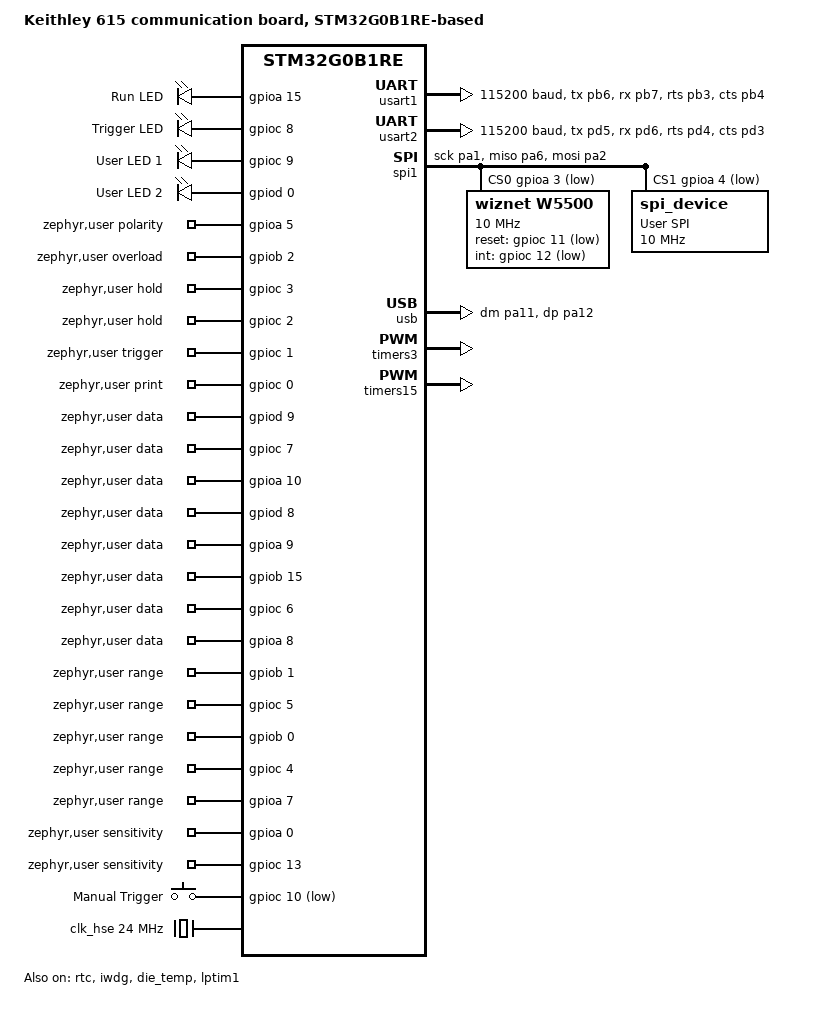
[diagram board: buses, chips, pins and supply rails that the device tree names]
/dts-v1/;
#include <st/g0/stm32g0b1Xe.dtsi>
#include <st/g0/stm32g0b1r(b-c-e)tx-pinctrl.dtsi>

/ {
	model = "Keithley 615 communication board, STM32G0B1RE-based";
	compatible = "st,stm32g0b1re-nucleo";

	chosen {
		zephyr,console = &usart1;
		zephyr,shell-uart = &usart1;
		zephyr,uart-mcumgr = &usart1;
		zephyr,sram = &sram0;
		zephyr,flash = &flash0;
		zephyr,code-partition = &slot0_partition;
	};

	leds {
		compatible = "gpio-leds";
		led_run {
			gpios = <&gpioa 15 GPIO_ACTIVE_HIGH>;
			label = "Run LED";
		};
		led_trigger {
			gpios = <&gpioc 8 GPIO_ACTIVE_HIGH>;
			label = "Trigger LED";
		};
		led_user1 {
			gpios = <&gpioc 9 GPIO_ACTIVE_HIGH>;
			label = "User LED 1";
		};
		led_user2 {
			gpios = <&gpiod 0 GPIO_ACTIVE_HIGH>;
			label = "User LED 2";
		};
	};

    /* Keithley 615 50-pin interface */
    /* TODO: Make separate device driver for this, so device-tree layout can
     * be cleaner. */
    zephyr,user {
        polarity-gpios    = <&gpioa  5 GPIO_ACTIVE_HIGH>;
        overload-gpios    = <&gpiob  2 GPIO_ACTIVE_HIGH>;
        hold-gpios        = <&gpioc  3 GPIO_ACTIVE_HIGH>,
                            <&gpioc  2 GPIO_ACTIVE_HIGH>;
        trigger-gpios     = <&gpioc  1 GPIO_ACTIVE_HIGH>;
        print-gpios       = <&gpioc  0 GPIO_ACTIVE_HIGH>;

        data-gpios        = <&gpiod  9 GPIO_ACTIVE_HIGH>,
                            <&gpioc  7 GPIO_ACTIVE_HIGH>,
                            <&gpioa 10 GPIO_ACTIVE_HIGH>,
                            <&gpiod  8 GPIO_ACTIVE_HIGH>,
                            <&gpioa  9 GPIO_ACTIVE_HIGH>,
                            <&gpiob 15 GPIO_ACTIVE_HIGH>,
                            <&gpioc  6 GPIO_ACTIVE_HIGH>,
                            <&gpioa  8 GPIO_ACTIVE_HIGH>,
                            <&gpiob 13 GPIO_ACTIVE_HIGH>,
                            <&gpiob 11 GPIO_ACTIVE_HIGH>,
                            <&gpiob 14 GPIO_ACTIVE_HIGH>,
                            <&gpiob 12 GPIO_ACTIVE_HIGH>,
                            <&gpiob 10 GPIO_ACTIVE_HIGH>;

        range-gpios       = <&gpiob  1 GPIO_ACTIVE_HIGH>,
                            <&gpioc  5 GPIO_ACTIVE_HIGH>,
                            <&gpiob  0 GPIO_ACTIVE_HIGH>,
                            <&gpioc  4 GPIO_ACTIVE_HIGH>,
                            <&gpioa  7 GPIO_ACTIVE_HIGH>;

        sensitivity-gpios = <&gpioa  0 GPIO_ACTIVE_HIGH>,
                            <&gpioc 13 GPIO_ACTIVE_HIGH>;
    };

	gpio_keys {
		compatible = "gpio-keys";
		button_trigger {
			label = "Manual Trigger";
			gpios = <&gpioc 10 GPIO_ACTIVE_LOW>;
		};
	};

	aliases {
		watchdog0 = &iwdg;
	};
};

uart_rs232: &usart1 {
	pinctrl-0 = <&usart1_tx_pb6  &usart1_rx_pb7
                 &usart1_rts_pb3 &usart1_cts_pb4>;
	pinctrl-names = "default";
	current-speed = <115200>;
    /* hw-flow-control */
	status = "okay";
};

uart_usb: &usart2 {
	pinctrl-0 = <&usart2_tx_pd5  &usart2_rx_pd6
                 &usart2_rts_pd4 &usart2_cts_pd3>;
	pinctrl-names = "default";
	current-speed = <115200>;
    /* hw-flow-control */
	status = "okay";
};

&spi1 {
	status = "okay";
	pinctrl-0 = <&spi1_sck_pa1 &spi1_miso_pa6 &spi1_mosi_pa2>;
	pinctrl-names = "default";
    cs-gpios = <&gpioa 3 GPIO_ACTIVE_LOW>, <&gpioa 4 GPIO_ACTIVE_LOW>;

    ethernet_w5500: w5500@0 {
        compatible = "wiznet,w5500";
        label = "w5500";
        reg = <0>;
        spi-max-frequency = <10000000>;
        reset-gpios = <&gpioc 11 GPIO_ACTIVE_LOW>;
        int-gpios   = <&gpioc 12 GPIO_ACTIVE_LOW>;

        /* Random test MAC address, made static for now for ease of packet sniffing */
        local-mac-address=[ 02 08 dc b0 6f df ];
        /*zephyr,random-mac-address;*/
    };

    user_spi: spi_device@1 {
        label = "User SPI";
        reg = <1>;
        spi-max-frequency = <10000000>;
    };
};

/*&i2c1 {
	status = "okay";
	pinctrl-0 = <&i2c1_scl_pb8 &i2c1_sda_pb9>;
	pinctrl-names = "default";

    user_i2c: i2c_device@0 {
        label = "User I2C";
        reg = <0x0>;
    };
};*/

zephyr_udc0: &usb {
	pinctrl-0 = <&usb_dm_pa11 &usb_dp_pa12>;
	pinctrl-names = "default";
    disconnect-gpios = <&gpiob 5 GPIO_ACTIVE_HIGH>;
	status = "okay";
};

/*
 * Chip-internal devices follow
 */

&clk_hse {
	clock-frequency = <DT_FREQ_M(24)>;
	status = "okay";
};

&clk_hsi {
	status = "okay";
};

&clk_hsi48 {
	status = "okay";
};


&clk_lse {
	status = "okay";
};

&clk_lsi {
	status = "okay";
};


&pll {
	div-m = <1>;
	mul-n = <8>;
	div-p = <3>;
	div-q = <3>;
	div-r = <3>;
	clocks = <&clk_hse>;
	status = "okay";
};

&rcc {
	clocks = <&pll>;
	clock-frequency = <DT_FREQ_M(64)>;
	ahb-prescaler = <1>;
	apb1-prescaler = <1>;
};



&rtc {
	clocks = <&rcc STM32_CLOCK_BUS_APB1 0x00000400>,
		     <&rcc STM32_SRC_LSE RTC_SEL(1)>;
	status = "okay";
};

&iwdg {
	status = "okay";
};

&timers3 {
	st,prescaler = <10000>;
	status = "okay";
	pwm3: pwm {
		status = "okay";
		pinctrl-0 = <&tim3_ch1_pb4>;
		pinctrl-names = "default";
	};
};

&timers15 {
	st,prescaler = <10000>;
	status = "okay";
	pwm15: pwm {
		status = "okay";
		pinctrl-0 = <&tim15_ch1_pb14>;
		pinctrl-names = "default";
	};
};



&die_temp {
	status = "okay";
};

&flash0 {
	partitions {
		compatible = "fixed-partitions";
		#address-cells = <1>;
		#size-cells = <1>;

		boot_partition: partition@0 {
			label = "mcuboot";
			reg = <0x00000000 DT_SIZE_K(48)>;
			read-only;
		};
		slot0_partition: partition@C000 {
			label = "image-0";
			reg = <0x0000C000 DT_SIZE_K(200)>;
		};
		slot1_partition: partition@3E000 {
			label = "image-1";
			reg = <0x0003E000 DT_SIZE_K(200)>;
		};
		/* final 64KiB reserved for app storage partition */
		storage_partition: partition@70000 {
			label = "storage";
			reg = <0x00070000 DT_SIZE_K(64)>;
		};
	};
};

&cpu0 {
	cpu-power-states = <&stop0 &stop1>;
};

&lptim1 {
	clocks = <&rcc STM32_CLOCK_BUS_APB1 0x80000000>,
		 <&rcc STM32_SRC_LSI LPTIM1_SEL(1)>;
	status = "okay";
};

